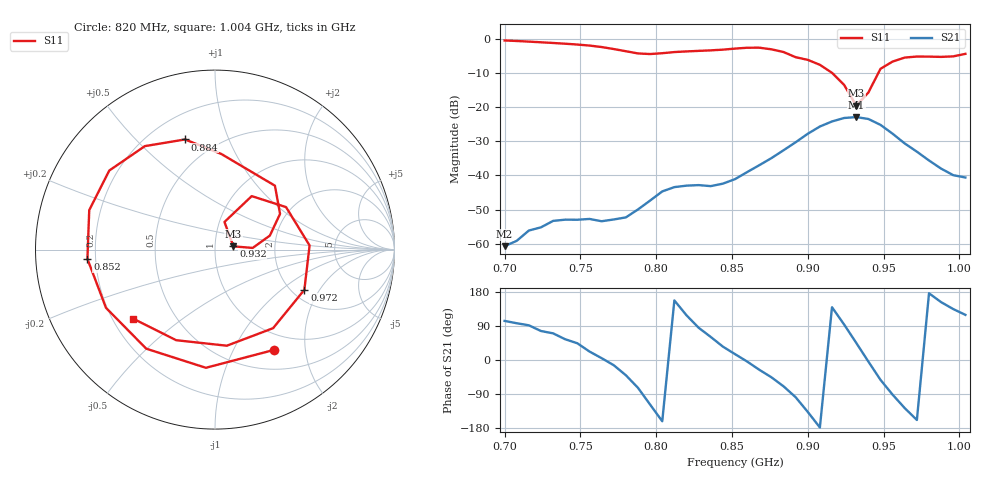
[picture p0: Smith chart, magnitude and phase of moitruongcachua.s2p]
# Hz S RI R 50
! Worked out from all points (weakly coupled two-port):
!   39 points, 700 MHz to 1.004 GHz, reference 50 ohm
!   highest |S21| = -22.96 dB at 932 MHz (marker M1); lowest = -60.7 dB at 700 MHz (marker M2)
!   lowest |S11| = -19.6 dB at 932 MHz (marker M3), VSWR 1.23, Z = 61.4 + j2.24 ohm
!   |S11| at or under -10 dB: 915.9 MHz to 946.7 MHz (30.72 MHz wide, 3.3 % of centre)
!   S12 and S22 are empty: the file has one direction only
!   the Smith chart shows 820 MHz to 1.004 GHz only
!   S11 on the Smith chart (normalised r, x): 820 MHz: 0.76, -1.47; 852 MHz: 0.17, -0.04; 884 MHz: 0.34, +0.71; 932 MHz: 1.23, +0.04; 972 MHz: 2.32, -1.48; 1.004 GHz: 0.28, -0.34
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7e8  0.7564 0.5548  -0.000209 0.000899  0 0  0 0
7.24e8  0.8456 -0.2503  0.000406 0.00169  0 0  0 0
7.4e8  0.4645 -0.7007  0.0013 0.00184  0 0  0 0
7.56e8  -0.1845 -0.768  0.00213 0.000877  0 0  0 0
7.72e8  -0.6662 -0.2236  0.0022 -0.000537  0 0  0 0
7.8e8  -0.6211 0.2009  0.00186 -0.00157  0 0  0 0
7.88e8  -0.2928 0.5303  0.000904 -0.00305  0 0  0 0
7.96e8  0.1941 0.5612  -0.00199 -0.00379  0 0  0 0
8.04e8  0.562 0.2388  -0.00553 -0.00183  0 0  0 0
8.2e8  0.3297 -0.5586  -0.00332 0.00625  0 0  0 0
8.36e8  -0.383 -0.5521  0.0034 0.00608  0 0  0 0
8.52e8  -0.7108 -0.052  0.00849 0.00235  0 0  0 0
8.68e8  -0.5891 0.4404  0.0127 -0.0061  0 0  0 0
8.84e8  -0.1669 0.6136  0.00821 -0.0218  0 0  0 0
9e8  0.334 0.356  -0.0296 -0.0277  0 0  0 0
9.08e8  0.3624 0.1989  -0.0518 -0.00175  0 0  0 0
9.32e8  0.1027 0.0181  0.0502 0.0504  0 0  0 0
9.4e8  0.0528 0.154  0.0666 -0.00489  0 0  0 0
9.56e8  0.3957 0.2369  -0.00111 -0.0406  0 0  0 0
9.72e8  0.4979 -0.224  -0.0206 -0.00821  0 0  0 0
9.88e8  0.0658 -0.5355  -0.0111 0.00577  0 0  0 0
1.004e9  -0.4572 -0.384  -0.00453 0.00813  0 0  0 0
